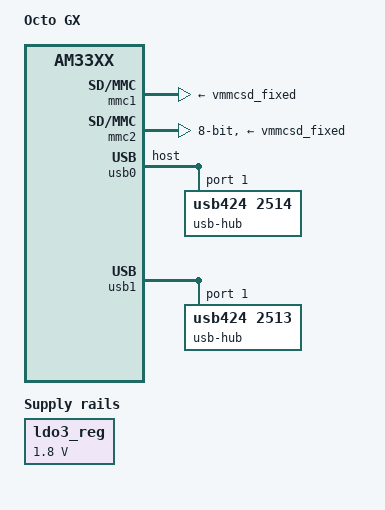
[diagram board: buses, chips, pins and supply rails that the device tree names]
/dts-v1/;

#include "am33xx.dtsi"
#include "am335x-bone-common.dtsi"
#include "bb-ve-cape.dtsi"

/ {
	model = "Octo GX";
	compatible = "unipoin,gridless-octo", "ti,am335x-bone-black", "ti,am33xx";

	aliases {
		// rs485
		usb-serial0 = &usb_serial2;
		// VE.Direct on the top, 1 the one in the corner near the sd_boot,
		// thereafter increasing counter clockwise.
		usb-serial1 = &usb_serial12;
		usb-serial2 = &usb_serial13;
		usb-serial3 = &usb_serial14;
		usb-serial4 = &usb_serial11;
		usb-serial5 = &usb_serial10;
		usb-serial6 = &usb_serial9;
		usb-serial7 = &usb_serial8;
		usb-serial8 = &usb_serial7;
		// not ordered, since these are not mounted
		usb-serial9 = &usb_serial6;
		usb-serial10 = &usb_serial5;
		usb-serial11 = &usb_serial4;
		usb-serial12 = &usb_serial3;
		usb-serial13 = &usb_serial1;
		usb-serial14 = &usb_serial0;
	};
};

&ldo3_reg {
	regulator-min-microvolt = <1800000>;
	regulator-max-microvolt = <1800000>;
	regulator-always-on;
};

&mmc1 {
	vmmc-supply = <&vmmcsd_fixed>;
};

&mmc2 {
	vmmc-supply = <&vmmcsd_fixed>;
	pinctrl-names = "default";
	pinctrl-0 = <&emmc_pins>;
	bus-width = <8>;
	status = "okay";
};

&tscadc {
	status = "disabled";
};

&usb0 {
	status = "okay";
	dr_mode = "host";
	#address-cells = <1>;
	#size-cells = <0>;

	usb-hub@1 {
		compatible = "usb424,2514";
		reg = <1>;

		#address-cells = <1>;
		#size-cells = <0>;

		usb-serial@1 {
			compatible = "usb403,6010";
			reg = <1>;

			#address-cells = <2>;
			#size-cells = <0>;

			usb_serial0: port@0 {
				reg = <0 1>;
			};

			usb_serial1: port@1 {
				reg = <1 1>;
			};
		};

		usb_serial2: usb-serial@2 {
			compatible = "usb403,6015";
			reg = <2>;
		};

		wireless-controller@3 {
			compatible = "usbbda,b720";
			reg = <3>;

			#address-cells = <2>;
			#size-cells = <0>;

			bluetooth@0 {
				reg = <0 1>;
				status = "disabled";
			};

			bluetooth@1 {
				reg = <1 1>;
				status = "disabled";
			};
		};
	};
};

&usb1 {
	#address-cells = <1>;
	#size-cells = <0>;

	usb-hub@1 {
		compatible = "usb424,2513";
		reg = <1>;

		#address-cells = <1>;
		#size-cells = <0>;

		usb-serial@1 {
			compatible = "usb403,6011";
			reg = <1>;

			#address-cells = <2>;
			#size-cells = <0>;

			usb_serial3: port@0 {
				reg = <0 1>;
			};

			usb_serial4: port@1 {
				reg = <1 1>;
			};

			usb_serial5: port@2 {
				reg = <2 1>;
			};

			usb_serial6: port@3 {
				reg = <3 1>;
			};
		};

		usb-serial@2 {
			compatible = "usb403,6011";
			reg = <2>;

			#address-cells = <2>;
			#size-cells = <0>;

			usb_serial7: port@0 {
				reg = <0 1>;
			};

			usb_serial8: port@1 {
				reg = <1 1>;
			};

			usb_serial9: port@2 {
				reg = <2 1>;
			};

			usb_serial10: port@3 {
				reg = <3 1>;
			};
		};

		usb-serial@3 {
			compatible = "usb403,6011";
			reg = <3>;

			#address-cells = <2>;
			#size-cells = <0>;

			usb_serial11: port@0 {
				reg = <0 1>;
			};

			usb_serial12: port@1 {
				reg = <1 1>;
			};

			usb_serial13: port@2 {
				reg = <2 1>;
			};

			usb_serial14: port@3 {
				reg = <3 1>;
			};
		};
	};
};

&gpio0 {
	gpio-line-names = "digital_input_2";
	gpio-line-numbers = <26>;
};

&gpio1 {
	gpio-line-names = "digital_input_1", "digital_input_3";
	gpio-line-numbers = <14>, <29>;
};

&gpio2 {
	gpio-line-names = "relay_1", "vebus_standby", "mkx_rst";
	gpio-line-numbers = <3>, <10>, <12>;
};
